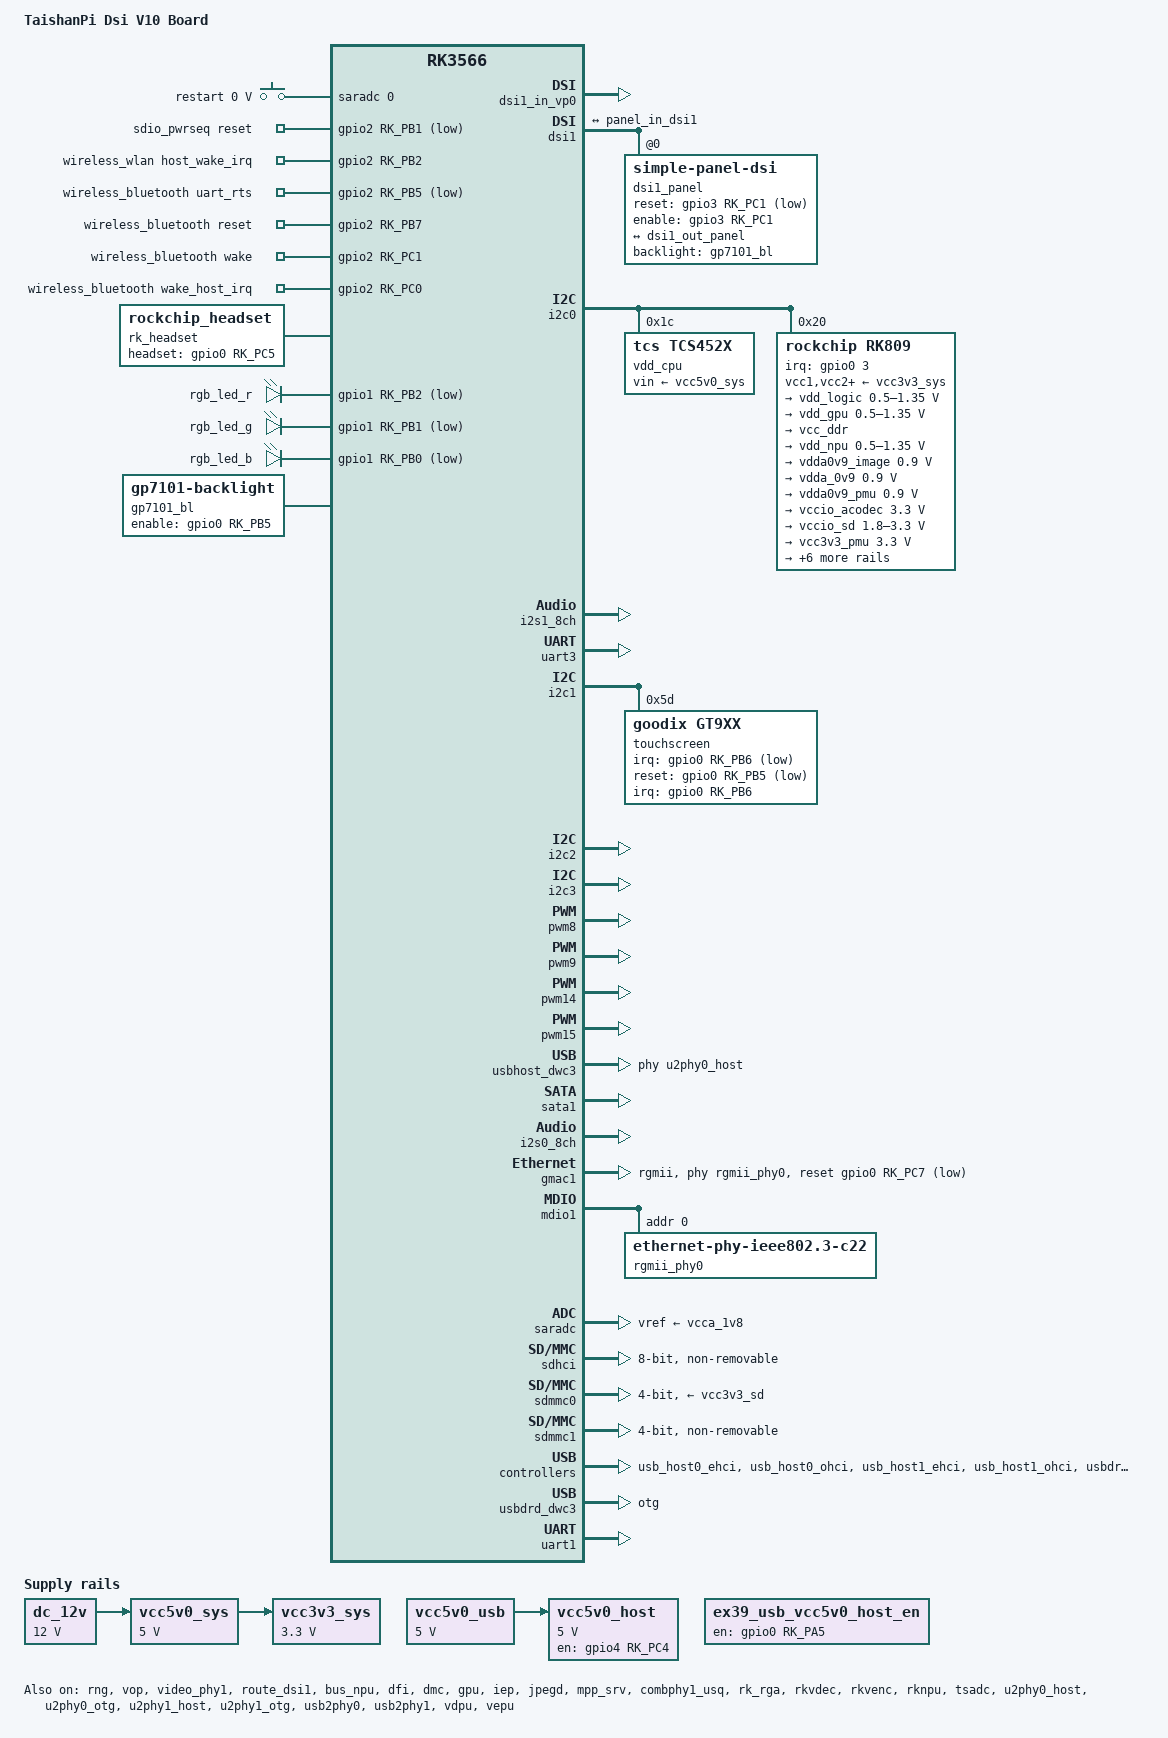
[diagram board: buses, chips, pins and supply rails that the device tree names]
// SPDX-License-Identifier: (GPL-2.0+ OR MIT)
/*
 * Copyright (c) 2020 Rockchip Electronics Co., Ltd.
 *
 */

/dts-v1/;

#include <dt-bindings/gpio/gpio.h>
#include <dt-bindings/display/media-bus-format.h>
#include <dt-bindings/pinctrl/rockchip.h>
#include <dt-bindings/display/rockchip_vop.h>
#include <dt-bindings/display/drm_mipi_dsi.h>
#include <dt-bindings/pwm/pwm.h>
#include <dt-bindings/input/rk-input.h>
#include <dt-bindings/sensor-dev.h>
#include "rk3566.dtsi"

/ {
	model = "TaishanPi Dsi V10 Board";
	compatible = "lckfb,tspi-v10", "rockchip,rk3566";

	fiq-debugger {
		compatible = "rockchip,fiq-debugger";
		rockchip,serial-id = <2>;
		rockchip,wake-irq = <0>;
		/* If enable uart uses irq instead of fiq */
		rockchip,irq-mode-enable = <1>;
		rockchip,baudrate = <1500000>;  /* Only 115200 and 1500000 */
		interrupts = <GIC_SPI 252 IRQ_TYPE_LEVEL_LOW>;
		pinctrl-names = "default";
		pinctrl-0 = <&uart2m0_xfer>;
		status = "okay";
	};

	debug: debug@fd904000 {
		compatible = "rockchip,debug";
		reg = <0x0 0xfd904000 0x0 0x1000>,
			<0x0 0xfd905000 0x0 0x1000>,
			<0x0 0xfd906000 0x0 0x1000>,
			<0x0 0xfd907000 0x0 0x1000>;
	};

	cspmu: cspmu@fd90c000 {
		compatible = "rockchip,cspmu";
		reg = <0x0 0xfd90c000 0x0 0x1000>,
			<0x0 0xfd90d000 0x0 0x1000>,
			<0x0 0xfd90e000 0x0 0x1000>,
			<0x0 0xfd90f000 0x0 0x1000>;
	};

	adc_keys: adc-keys {
		compatible = "adc-keys";
		io-channels = <&saradc 0>;
		io-channel-names = "buttons";
		keyup-threshold-microvolt = <1800000>;
		poll-interval = <100>;

		restart-key {
			label = "restart";
			linux,code = <KEY_RESTART>;
			press-threshold-microvolt = <108>;
		};
	};

	audiopwmout_diff: audiopwmout-diff {
		status = "disabled";
		compatible = "simple-audio-card";
		simple-audio-card,format = "i2s";
		simple-audio-card,name = "rockchip,audiopwmout-diff";
		simple-audio-card,mclk-fs = <256>;
		simple-audio-card,bitclock-master = <&master>;
		simple-audio-card,frame-master = <&master>;
		simple-audio-card,cpu {
			sound-dai = <&i2s3_2ch>;
		};
		master: simple-audio-card,codec {
			sound-dai = <&dig_acodec>;
		};
	};

	dc_12v: dc-12v {
		compatible = "regulator-fixed";
		regulator-name = "dc_12v";
		regulator-always-on;
		regulator-boot-on;
		regulator-min-microvolt = <12000000>;
		regulator-max-microvolt = <12000000>;
	};

	pdmics: dummy-codec {
		status = "disabled";
		compatible = "rockchip,dummy-codec";
		#sound-dai-cells = <0>;
	};

	pdm_mic_array: pdm-mic-array {
		status = "disabled";
		compatible = "simple-audio-card";
		simple-audio-card,name = "rockchip,pdm-mic-array";
		simple-audio-card,cpu {
			sound-dai = <&pdm>;
		};
		simple-audio-card,codec {
			sound-dai = <&pdmics>;
		};
	};

	rk809_sound: rk809-sound {
		status = "okay";
		compatible = "simple-audio-card";
		simple-audio-card,format = "i2s";
		simple-audio-card,name = "rockchip,rk809-codec";
		simple-audio-card,mclk-fs = <256>;

		simple-audio-card,cpu {
			sound-dai = <&i2s1_8ch>;
		};
		simple-audio-card,codec {
			sound-dai = <&rk809_codec>;
		};
	};

	spdif-sound {
		status = "disabled";
		compatible = "simple-audio-card";
		simple-audio-card,name = "ROCKCHIP,SPDIF";
		simple-audio-card,cpu {
				sound-dai = <&spdif_8ch>;
		};
		simple-audio-card,codec {
				sound-dai = <&spdif_out>;
		};
	};

	spdif_out: spdif-out {
			status = "disabled";
			compatible = "linux,spdif-dit";
			#sound-dai-cells = <0>;
	};

	vad_sound: vad-sound {
		status = "disabled";
		compatible = "rockchip,multicodecs-card";
		rockchip,card-name = "rockchip,rk3568-vad";
		rockchip,cpu = <&i2s1_8ch>;
		rockchip,codec = <&rk809_codec>, <&vad>;
	};

	vcc3v3_sys: vcc3v3-sys {
		compatible = "regulator-fixed";
		regulator-name = "vcc3v3_sys";
		regulator-always-on;
		regulator-boot-on;
		regulator-min-microvolt = <3300000>;
		regulator-max-microvolt = <3300000>;
		vin-supply = <&vcc5v0_sys>;
	};

	vcc5v0_sys: vcc5v0-sys {
		compatible = "regulator-fixed";
		regulator-name = "vcc5v0_sys";
		regulator-always-on;
		regulator-boot-on;
		regulator-min-microvolt = <5000000>;
		regulator-max-microvolt = <5000000>;
		vin-supply = <&dc_12v>;
	};

	vcc5v0_usb: vcc5v0-usb {
		compatible = "regulator-fixed";
		regulator-name = "vcc5v0_usb";
		regulator-always-on;
		regulator-boot-on;
		regulator-min-microvolt = <5000000>;
		regulator-max-microvolt = <5000000>;
	};

	vcc5v0_host: vcc5v0-host-regulator {
		compatible = "regulator-fixed";
		regulator-name = "vcc5v0_host";
		regulator-boot-on;
		regulator-always-on;
		regulator-min-microvolt = <5000000>;
		regulator-max-microvolt = <5000000>;
		enable-active-high;
		gpio = <&gpio4 RK_PC4 GPIO_ACTIVE_HIGH>;
		vin-supply = <&vcc5v0_usb>;
		pinctrl-names = "default";
		pinctrl-0 = <&vcc5v0_host_en>;
	};

	sdio_pwrseq: sdio-pwrseq {
		compatible = "mmc-pwrseq-simple";
		clocks = <&rk809 1>;
		clock-names = "ext_clock";
		pinctrl-names = "default";
		pinctrl-0 = <&wifi_enable_h>;

		/*
		 * On the module itself this is one of these (depending
		 * on the actual card populated):
		 * - SDIO_RESET_L_WL_REG_ON
		 * - PDN (power down when low)
		 */
		post-power-on-delay-ms = <200>;
		reset-gpios = <&gpio2 RK_PB1 GPIO_ACTIVE_LOW>;
	};

	wireless_wlan: wireless-wlan {
		compatible = "wlan-platdata";
		pinctrl-names = "default";
		pinctrl-0 = <&wifi_host_wake_irq>;
		WIFI,host_wake_irq = <&gpio2 RK_PB2 GPIO_ACTIVE_HIGH>;
		rockchip,grf = <&grf>;
		wifi_chip_type = "ap6212";
		status = "okay";
	};

	wireless_bluetooth: wireless-bluetooth {
		compatible = "bluetooth-platdata";
		clocks = <&rk809 1>;
		clock-names = "ext_clock";
		//wifi-bt-power-toggle;
		uart_rts_gpios = <&gpio2 RK_PB5 GPIO_ACTIVE_LOW>;
		pinctrl-names = "default", "rts_gpio";
		pinctrl-0 = <&uart1m0_rtsn>;
		pinctrl-1 = <&uart1_gpios>;
		BT,reset_gpio    = <&gpio2 RK_PB7 GPIO_ACTIVE_HIGH>;
		BT,wake_gpio     = <&gpio2 RK_PC1 GPIO_ACTIVE_HIGH>;
		BT,wake_host_irq = <&gpio2 RK_PC0 GPIO_ACTIVE_HIGH>;
		status = "okay";
	};

	test-power {
		status = "okay";
	};

	rk_headset: rk-headset {
		compatible = "rockchip_headset";
		headset_gpio = <&gpio0 RK_PC5 GPIO_ACTIVE_HIGH>;
		pinctrl-names = "default";
		pinctrl-0 = <&hp_det>;
	};

	leds: leds {
		compatible = "gpio-leds";
		rgb_led_r: rgb-led-r {
			gpios = <&gpio1 RK_PB2 GPIO_ACTIVE_LOW>;
			linux,default-trigger = "timer";
			linux,delay-reg = <0>;
			linux,blink-delay-on = <500>;
			linux,blink-delay-off = <500>;
		};
		rgb_led_g: rgb-led-g {
			gpios = <&gpio1 RK_PB1 GPIO_ACTIVE_LOW>;
			linux,default-trigger = "timer";
			linux,delay-reg = <100>;
			linux,blink-delay-on = <1000>; 
			linux,blink-delay-off = <1000>;
		};
		rgb_led_b: rgb-led-b {
			gpios = <&gpio1 RK_PB0 GPIO_ACTIVE_LOW>;
			linux,default-trigger = "timer";
			linux,delay-reg = <100>;
			linux,blink-delay-on = <1500>; 
			linux,blink-delay-off = <1500>;
		};
	};

	ex39-usb-vcc5v0-host-en {
		compatible = "regulator-fixed";
		enable-active-high;
		gpio = <&gpio0 RK_PA5 GPIO_ACTIVE_HIGH>;
		pinctrl-names = "default";
		pinctrl-0 = <&ex39_usb_vcc5v0_host_en>;
		regulator-name = "ex39_usb_vcc5v0_host_en";
		regulator-always-on;
	};

	// GP7101背光控制器
	gp7101_bl: gp7101-backlight {
		compatible = "gp7101-backlight";
		enable-gpios = <&gpio0 RK_PB5 GPIO_ACTIVE_HIGH>;
		pinctrl-names = "default";
		pinctrl-0 = <&bl_en_gpio>;
		default-brightness = <128>;
		max-brightness = <255>;
		status = "okay";
	};
};

&reserved_memory {
	ramoops: ramoops@110000 {
		compatible = "ramoops";
		reg = <0x0 0x110000 0x0 0xf0000>;
		record-size = <0x20000>;
		console-size = <0x80000>;
		ftrace-size = <0x00000>;
		pmsg-size = <0x50000>;
	};
};

&rng {
	status = "okay";
};

&rockchip_suspend {
	status = "okay";
};

&vop {
	disable-win-move;
};

&vp0 {
	cursor-win-id = <ROCKCHIP_VOP2_ESMART0>;
};

&vp1 {
	cursor-win-id = <ROCKCHIP_VOP2_ESMART1>;
};

&dsi1_in_vp0 {
	status = "okay";
};

&dsi1_in_vp1 {
	status = "disabled";
};

&video_phy1 {
	status = "okay";
};

&route_dsi1 {
	status = "okay";
	connect = <&vp0_out_dsi1>;
};

&dsi1 {
	status = "okay";
	//rockchip,lane-rate = <1000>;
	dsi1_panel: panel@0 {
		status = "okay";
		compatible = "simple-panel-dsi";
		reg = <0>;
		backlight = <&gp7101_bl>;
		reset-gpios = <&gpio3 RK_PC1 GPIO_ACTIVE_LOW>;
		enable-gpios = <&gpio3 RK_PC1 GPIO_ACTIVE_HIGH>;
		reset-delay-ms = <60>;
		enable-delay-ms = <60>;
		prepare-delay-ms = <60>;
		unprepare-delay-ms = <60>;
		disable-delay-ms = <60>;
		dsi,flags = <(MIPI_DSI_MODE_VIDEO | MIPI_DSI_MODE_VIDEO_BURST |
			MIPI_DSI_MODE_LPM | MIPI_DSI_MODE_EOT_PACKET)>;
		dsi,format = <MIPI_DSI_FMT_RGB888>;
		dsi,lanes  = <4>;
		panel-init-sequence = [
			39 00 04 FF 98 81 03
			15 00 02 01 00
			15 00 02 02 00
			15 00 02 03 53
			15 00 02 04 53
			15 00 02 05 13
			15 00 02 06 04
			15 00 02 07 02
			15 00 02 08 02
			15 00 02 09 00
			15 00 02 0a 00
			15 00 02 0b 00
			15 00 02 0c 00
			15 00 02 0d 00
			15 00 02 0e 00
			15 00 02 0f 00
			15 00 02 10 00
			15 00 02 11 00
			15 00 02 12 00
			15 00 02 13 00
			15 00 02 14 00
			15 00 02 15 00
			15 00 02 16 00
			15 00 02 17 00
			15 00 02 18 00
			15 00 02 19 00
			15 00 02 1a 00
			15 00 02 1b 00
			15 00 02 1c 00
			15 00 02 1d 00
			15 00 02 1e c0
			15 00 02 1f 00
			15 00 02 20 02
			15 00 02 21 09

			15 00 02 23 00
			15 00 02 24 00
			15 00 02 25 00
			15 00 02 26 00
			15 00 02 27 00
			15 00 02 28 55
			15 00 02 29 03
			15 00 02 2a 00
			15 00 02 2b 00
			15 00 02 2c 00
			15 00 02 2d 00
			15 00 02 2e 00
			15 00 02 2f 00
			15 00 02 30 00
			15 00 02 31 00
			15 00 02 32 00
			15 00 02 33 00
			15 00 02 34 00
			15 00 02 35 00
			15 00 02 36 00
			15 00 02 37 00
			15 00 02 38 3C
			15 00 02 39 00
			15 00 02 3a 00
			15 00 02 3b 00
			15 00 02 3c 00
			15 00 02 3d 00
			15 00 02 3e 00
			15 00 02 3f 00
			15 00 02 40 00
			15 00 02 41 00
			15 00 02 42 00
			15 00 02 43 00
			15 00 02 44 00
			
			15 00 02 50 01
			15 00 02 51 23
			15 00 02 52 45
			15 00 02 53 67
			15 00 02 54 89
			15 00 02 55 ab
			15 00 02 56 01
			15 00 02 57 23
			15 00 02 58 45
			15 00 02 59 67
			15 00 02 5a 89
			15 00 02 5b ab
			15 00 02 5c cd
			15 00 02 5d ef

			15 00 02 5e 01
			15 00 02 5f 0A
			15 00 02 60 02
			15 00 02 61 02
			15 00 02 62 08
			15 00 02 63 15
			15 00 02 64 14
			15 00 02 65 02
			15 00 02 66 11
			15 00 02 67 10
			15 00 02 68 02
			15 00 02 69 0F
			15 00 02 6a 0E
			15 00 02 6b 02
			15 00 02 6c 0D
			15 00 02 6d 0C
			15 00 02 6e 06
			15 00 02 6f 02
			15 00 02 70 02
			15 00 02 71 02
			15 00 02 72 02
			15 00 02 73 02
			15 00 02 74 02
			
			15 00 02 75 0A
			15 00 02 76 02
			15 00 02 77 02
			15 00 02 78 06
			15 00 02 79 15
			15 00 02 7a 14
			15 00 02 7b 02
			15 00 02 7c 10
			15 00 02 7d 11
			15 00 02 7e 02
			15 00 02 7f 0C
			15 00 02 80 0D
			15 00 02 81 02
			15 00 02 82 0E
			15 00 02 83 0F
			15 00 02 84 08
			15 00 02 85 02
			15 00 02 86 02
			15 00 02 87 02
			15 00 02 88 02
			15 00 02 89 02
			15 00 02 8A 02

			39 00 04 FF 98 81 04
			15 00 02 3B C0
			15 00 02 6C 15
			15 00 02 6E 30
			15 00 02 6F 55
			15 00 02 3A 24
			15 00 02 8D 1F
			15 00 02 87 BA
			15 00 02 26 76
			15 00 02 B2 D1
			15 00 02 B5 07
			15 00 02 35 1F
			15 00 02 88 0B
			15 00 02 21 09

			39 00 04 FF 98 81 01
			15 00 02 22 0A
			15 00 02 31 09
			15 00 02 40 33
			15 00 02 53 37
			15 00 02 55 38
			15 00 02 50 95
			15 00 02 51 95
			15 00 02 60 30

			15 00 02 A0 0F
			15 00 02 A1 17
			15 00 02 A2 22
			15 00 02 A3 19
			15 00 02 A4 15
			15 00 02 A5 28
			15 00 02 A6 1C
			15 00 02 A7 1C
			15 00 02 A8 78
			15 00 02 A9 1C
			15 00 02 AA 28
			15 00 02 AB 69
			15 00 02 AC 1A
			15 00 02 AD 19
			15 00 02 AE 4B
			15 00 02 AF 22
			15 00 02 B0 2A
			15 00 02 B1 4B
			15 00 02 B2 6B
			15 00 02 B3 3F

			15 00 02 C0 01
			15 00 02 C1 17
			15 00 02 C2 22
			15 00 02 C3 19
			15 00 02 C4 15
			15 00 02 C5 28
			15 00 02 C6 1C
			15 00 02 C7 1D
			15 00 02 C8 78
			15 00 02 C9 1C
			15 00 02 CA 28
			15 00 02 CB 69
			15 00 02 CC 1A
			15 00 02 CD 19
			15 00 02 CE 4B
			15 00 02 CF 22
			15 00 02 D0 2A
			15 00 02 D1 4B
			15 00 02 D2 6B
			15 00 02 D3 3F
			39 00 04 FF 98 81 00
			05 78 01 11
			05 14 01 29
		];

		panel-exit-sequence = [
			05 00 01 28
			05 00 01 10
		];

		disp_timings1: display-timings {
			native-mode = <&dsi1_timing0>;
			dsi1_timing0: timing0 {
				clock-frequency = <71000000>;
				hactive = <800>;
				vactive = <1280>;
				hfront-porch = <52>;
				hsync-len = <8>;
				hback-porch = <48>;
				vfront-porch = <15>;
				vsync-len = <6>;
				vback-porch = <16>;
				hsync-active = <0>;
				vsync-active = <0>;
				de-active = <0>;
				pixelclk-active = <0>;
			};
		};

		ports {
			#address-cells = <1>;
			#size-cells = <0>;

			port@0 {
				reg = <0>;
				panel_in_dsi1: endpoint {
					remote-endpoint = <&dsi1_out_panel>;
				};
			};
		};
	};

	ports {
		#address-cells = <1>;
		#size-cells = <0>;

		port@1 {
			reg = <1>;
			dsi1_out_panel: endpoint {
				remote-endpoint = <&panel_in_dsi1>;
			};
		};
	};
};

&bus_npu {
	bus-supply = <&vdd_logic>;
	pvtm-supply = <&vdd_cpu>;
	status = "okay";
};

&can0 {
	assigned-clocks = <&cru CLK_CAN0>;
	assigned-clock-rates = <150000000>;
	pinctrl-names = "default";
	pinctrl-0 = <&can0m1_pins>;
	status = "disabled";
};

&can1 {
	assigned-clocks = <&cru CLK_CAN1>;
	assigned-clock-rates = <150000000>;
	pinctrl-names = "default";
	pinctrl-0 = <&can1m1_pins>;
	status = "disabled";
};

&can2 {
	assigned-clocks = <&cru CLK_CAN2>;
	assigned-clock-rates = <150000000>;
	pinctrl-names = "default";
	pinctrl-0 = <&can2m1_pins>;
	status = "disabled";
};

&cpu0 {
	cpu-supply = <&vdd_cpu>;
};

&dfi {
	status = "okay";
};

&dmc {
	center-supply = <&vdd_logic>;
	status = "okay";
};

&gpu {
	mali-supply = <&vdd_gpu>;
	status = "okay";
};

&i2c0 {
	status = "okay";

	vdd_cpu: tcs4525@1c {
		compatible = "tcs,tcs452x";
		reg = <0x1c>;
		vin-supply = <&vcc5v0_sys>;
		regulator-compatible = "fan53555-reg";
		regulator-name = "vdd_cpu";
		regulator-min-microvolt = <712500>;
		regulator-max-microvolt = <1390000>;
		regulator-init-microvolt = <900000>;
		regulator-ramp-delay = <2300>;
		fcs,suspend-voltage-selector = <1>;
		regulator-boot-on;
		regulator-always-on;
		regulator-state-mem {
			regulator-off-in-suspend;
		};
	};

	rk809: pmic@20 {
		compatible = "rockchip,rk809";
		reg = <0x20>;
		interrupt-parent = <&gpio0>;
		interrupts = <3 IRQ_TYPE_LEVEL_LOW>;

		pinctrl-names = "default", "pmic-sleep",
				"pmic-power-off", "pmic-reset";
		pinctrl-0 = <&pmic_int>;
		pinctrl-1 = <&soc_slppin_slp>, <&rk817_slppin_slp>;
		pinctrl-2 = <&soc_slppin_gpio>, <&rk817_slppin_pwrdn>;
		pinctrl-3 = <&soc_slppin_gpio>, <&rk817_slppin_rst>;

		rockchip,system-power-controller;
		wakeup-source;
		#clock-cells = <1>;
		clock-output-names = "rk808-clkout1", "rk808-clkout2";
		//fb-inner-reg-idxs = <2>;
		/* 1: rst regs (default in codes), 0: rst the pmic */
		pmic-reset-func = <0>;
		/* not save the PMIC_POWER_EN register in uboot */
		not-save-power-en = <1>;

		vcc1-supply = <&vcc3v3_sys>;
		vcc2-supply = <&vcc3v3_sys>;
		vcc3-supply = <&vcc3v3_sys>;
		vcc4-supply = <&vcc3v3_sys>;
		vcc5-supply = <&vcc3v3_sys>;
		vcc6-supply = <&vcc3v3_sys>;
		vcc7-supply = <&vcc3v3_sys>;
		vcc8-supply = <&vcc3v3_sys>;
		vcc9-supply = <&vcc3v3_sys>;

		pwrkey {
			status = "okay";
		};

		pinctrl_rk8xx: pinctrl_rk8xx {
			gpio-controller;
			#gpio-cells = <2>;

			rk817_slppin_null: rk817_slppin_null {
				pins = "gpio_slp";
				function = "pin_fun0";
			};

			rk817_slppin_slp: rk817_slppin_slp {
				pins = "gpio_slp";
				function = "pin_fun1";
			};

			rk817_slppin_pwrdn: rk817_slppin_pwrdn {
				pins = "gpio_slp";
				function = "pin_fun2";
			};

			rk817_slppin_rst: rk817_slppin_rst {
				pins = "gpio_slp";
				function = "pin_fun3";
			};
		};

		regulators {
			vdd_logic: DCDC_REG1 {
				regulator-always-on;
				regulator-boot-on;
				regulator-min-microvolt = <500000>;
				regulator-max-microvolt = <1350000>;
				regulator-init-microvolt = <900000>;
				regulator-ramp-delay = <6001>;
				regulator-initial-mode = <0x2>;
				regulator-name = "vdd_logic";
				regulator-state-mem {
					regulator-off-in-suspend;
				};
			};

			vdd_gpu: DCDC_REG2 {
				regulator-always-on;
				regulator-boot-on;
				regulator-min-microvolt = <500000>;
				regulator-max-microvolt = <1350000>;
				regulator-init-microvolt = <900000>;
				regulator-ramp-delay = <6001>;
				regulator-initial-mode = <0x2>;
				regulator-name = "vdd_gpu";
				regulator-state-mem {
					regulator-off-in-suspend;
				};
			};

			vcc_ddr: DCDC_REG3 {
				regulator-always-on;
				regulator-boot-on;
				regulator-initial-mode = <0x2>;
				regulator-name = "vcc_ddr";
				regulator-state-mem {
					regulator-on-in-suspend;
				};
			};

			vdd_npu: DCDC_REG4 {
				regulator-always-on;
				regulator-boot-on;
				regulator-min-microvolt = <500000>;
				regulator-max-microvolt = <1350000>;
				regulator-init-microvolt = <900000>;
				regulator-ramp-delay = <6001>;
				regulator-initial-mode = <0x2>;
				regulator-name = "vdd_npu";
				regulator-state-mem {
					regulator-off-in-suspend;
				};
			};

			vdda0v9_image: LDO_REG1 {
				regulator-boot-on;
				regulator-always-on;
				regulator-min-microvolt = <900000>;
				regulator-max-microvolt = <900000>;
				regulator-name = "vdda0v9_image";
				regulator-state-mem {
					regulator-off-in-suspend;
				};
			};

			vdda_0v9: LDO_REG2 {
				regulator-always-on;
				regulator-boot-on;
				regulator-min-microvolt = <900000>;
				regulator-max-microvolt = <900000>;
				regulator-name = "vdda_0v9";
				regulator-state-mem {
					regulator-off-in-suspend;
				};
			};

			vdda0v9_pmu: LDO_REG3 {
				regulator-always-on;
				regulator-boot-on;
				regulator-min-microvolt = <900000>;
				regulator-max-microvolt = <900000>;
				regulator-name = "vdda0v9_pmu";
				regulator-state-mem {
					regulator-on-in-suspend;
					regulator-suspend-microvolt = <900000>;
				};
			};

			vccio_acodec: LDO_REG4 {
				regulator-always-on;
				regulator-boot-on;
				regulator-min-microvolt = <3300000>;
				regulator-max-microvolt = <3300000>;
				regulator-name = "vccio_acodec";
				regulator-state-mem {
					regulator-off-in-suspend;
				};
			};

			vccio_sd: LDO_REG5 {
				regulator-always-on;
				regulator-boot-on;
				regulator-min-microvolt = <1800000>;
				regulator-max-microvolt = <3300000>;
				regulator-name = "vccio_sd";
				regulator-state-mem {
					regulator-off-in-suspend;
				};
			};

			vcc3v3_pmu: LDO_REG6 {
				regulator-always-on;
				regulator-boot-on;
				regulator-min-microvolt = <3300000>;
				regulator-max-microvolt = <3300000>;
				regulator-name = "vcc3v3_pmu";
				regulator-state-mem {
					regulator-on-in-suspend;
					regulator-suspend-microvolt = <3300000>;
				};
			};

			vcca_1v8: LDO_REG7 {
				regulator-always-on;
				regulator-boot-on;
				regulator-min-microvolt = <1800000>;
				regulator-max-microvolt = <1800000>;
				regulator-name = "vcca_1v8";
				regulator-state-mem {
					regulator-off-in-suspend;
				};
			};

			vcca1v8_pmu: LDO_REG8 {
				regulator-always-on;
				regulator-boot-on;
				regulator-min-microvolt = <1800000>;
				regulator-max-microvolt = <1800000>;
				regulator-name = "vcca1v8_pmu";
				regulator-state-mem {
					regulator-on-in-suspend;
					regulator-suspend-microvolt = <1800000>;
				};
			};

			vcca1v8_image: LDO_REG9 {
				regulator-always-on;
				regulator-boot-on;
				regulator-min-microvolt = <1800000>;
				regulator-max-microvolt = <1800000>;
				regulator-name = "vcca1v8_image";
				regulator-state-mem {
					regulator-off-in-suspend;
				};
			};

			vcc_1v8: DCDC_REG5 {
				regulator-always-on;
				regulator-boot-on;
				regulator-min-microvolt = <1800000>;
				regulator-max-microvolt = <1800000>;
				regulator-name = "vcc_1v8";
				regulator-state-mem {
					regulator-off-in-suspend;
				};
			};

			vcc_3v3: SWITCH_REG1 {
				regulator-always-on;
				regulator-boot-on;
				regulator-name = "vcc_3v3";
				regulator-state-mem {
					regulator-off-in-suspend;
				};
			};

			vcc3v3_sd: SWITCH_REG2 {
				regulator-always-on;
				regulator-boot-on;
				regulator-name = "vcc3v3_sd";
				regulator-state-mem {
					regulator-off-in-suspend;
				};
			};
		};

		rk809_codec: codec {
			#sound-dai-cells = <0>;
			compatible = "rockchip,rk809-codec", "rockchip,rk817-codec";
			clocks = <&cru I2S1_MCLKOUT>;
			clock-names = "mclk";
			assigned-clocks = <&cru I2S1_MCLKOUT>, <&cru I2S1_MCLK_TX_IOE>;
			assigned-clock-rates = <12288000>;
			assigned-clock-parents = <&cru I2S1_MCLKOUT_TX>, <&cru I2S1_MCLKOUT_TX>;
			pinctrl-names = "default";
			pinctrl-0 = <&i2s1m0_mclk>;
			hp-volume = <20>;
			spk-volume = <3>;
			mic-in-differential;
			status = "okay";
		};
	};
};

&i2s1_8ch {
	status = "okay";
	rockchip,clk-trcm = <1>;
	pinctrl-names = "default";
	pinctrl-0 = <&i2s1m0_sclktx
		     &i2s1m0_lrcktx
		     &i2s1m0_sdi0
		     &i2s1m0_sdo0>;
};

&iep {
	status = "okay";
};

&iep_mmu {
	status = "okay";
};

&jpegd {
	status = "okay";
};

&jpegd_mmu {
	status = "okay";
};

&mpp_srv {
	status = "okay";
};

&pinctrl {
	pmic {
		pmic_int: pmic_int {
			rockchip,pins =
				<0 RK_PA3 RK_FUNC_GPIO &pcfg_pull_up>;
		};

		soc_slppin_gpio: soc_slppin_gpio {
			rockchip,pins =
				<0 RK_PA2 RK_FUNC_GPIO &pcfg_output_low_pull_down>;
		};

		soc_slppin_slp: soc_slppin_slp {
			rockchip,pins =
				<0 RK_PA2 1 &pcfg_pull_up>;
		};

		soc_slppin_rst: soc_slppin_rst {
			rockchip,pins =
				<0 RK_PA2 2 &pcfg_pull_none>;
		};
	};

	usb {
		vcc5v0_host_en: vcc5v0-host-en {
			rockchip,pins = <4 RK_PC4 RK_FUNC_GPIO &pcfg_pull_none>;
		};
	};

	sdio-pwrseq {
		wifi_enable_h: wifi-enable-h {
			rockchip,pins = <2 RK_PB1 RK_FUNC_GPIO &pcfg_pull_none>;
		};
	};

	wireless-wlan {
		wifi_host_wake_irq: wifi-host-wake-irq {
			rockchip,pins = <2 RK_PB2 RK_FUNC_GPIO &pcfg_pull_down>;
		};
	};

	wireless-bluetooth {
		uart1_gpios: uart1-gpios {
			rockchip,pins = <2 RK_PB5 RK_FUNC_GPIO &pcfg_pull_none>;
		};
	};

	headphone {
		hp_det: hp-det {
			rockchip,pins = <0 RK_PC5 RK_FUNC_GPIO &pcfg_pull_none>;
		};
	};

	ex39_usb {
		ex39_usb_vcc5v0_host_en: ex39-usb-vcc5v0-host-en {
			rockchip,pins = <0 RK_PA5 RK_FUNC_GPIO &pcfg_pull_none>;
		};
	};

	dsi1 {
		dsi1_rst_gpio: dsi1-rst-gpio {
			rockchip,pins = <3 RK_PC1 RK_FUNC_GPIO &pcfg_pull_none>;
		};
	};

	// 背光引脚配置
	backlight {
		bl_en_gpio: bl-en-gpio {
			rockchip,pins = <0 RK_PB5 RK_FUNC_GPIO &pcfg_pull_none>;
		};
	};

	// 触摸屏引脚配置
	touchscreen {
		touch_gpio: touch-gpio {
			rockchip,pins = <0 RK_PB6 RK_FUNC_GPIO &pcfg_pull_up>;
		};

		touch_rst_gpio: touch-rst-gpio {
			rockchip,pins = <0 RK_PB5 RK_FUNC_GPIO &pcfg_pull_none>;
		};
	};
};

&leds {
	status = "okay";
};

&uart3 {
	status = "okay";
	pinctrl-names = "default";
	pinctrl-0 = <&uart3m1_xfer>;
};

&i2c1 {
	status = "okay";
	// 替换为用户的触摸屏配置
	touchscreen@5d {
		compatible = "goodix,gt9xx";
		reg = <0x5d>;
		interrupt-parent = <&gpio0>;
		interrupts = <RK_PB6 IRQ_TYPE_EDGE_FALLING>;
		pinctrl-names = "default";
		pinctrl-0 = <&touch_gpio &touch_rst_gpio>;
		irq-gpios = <&gpio0 RK_PB6 GPIO_ACTIVE_LOW>;
		reset-gpios = <&gpio0 RK_PB5 GPIO_ACTIVE_LOW>;
		max-x = <1024>;
		max-y = <600>;
		tp-size = <911>;
		status = "okay";
	};
};

&i2c2 {
	status = "okay";
};

&i2c3 {
	status = "okay";
	pinctrl-names = "default";
	pinctrl-0 = <&i2c3m1_xfer>;
};

&spi3 {
	status = "disabled";
};

&pwm5 {
	status = "disabled";
};

&pwm8 {
	status = "okay";
};

&pwm9 {
	status = "okay";
};

&pwm14 {
	status = "okay";
};

&pwm15 {
	status = "okay";
	compatible = "rockchip,remotectl-pwm";
	remote_pwm_id = <3>;
	handle_cpu_id = <1>;
	remote_support_psci = <0>;
	pinctrl-names = "default";
	pinctrl-0 = <&pwm15m0_pins>;

	ir_key1 {
		rockchip,usercode = <0xff00>;
		rockchip,key_table =
			<0xf2	KEY_MENU>,
			<0xe9	KEY_BACK>,
			<0xe3	KEY_ENTER>,
			<0xe7	KEY_UP>,
			<0xad	KEY_DOWN>,
			<0xf7	KEY_LEFT>,
			<0xa5	KEY_RIGHT>,
			<0xba	KEY_1>,
			<0xb9	KEY_2>,
			<0xb8	KEY_3>,
			<0xbb	KEY_4>,
			<0xbf	KEY_5>,
			<0xbc	KEY_6>,
			<0xf8	KEY_7>,
			<0xea	KEY_8>,
			<0xf6	KEY_9>,
			<0xe6	KEY_0>;
	};
};

&usbhost_dwc3 {
	phys = <&u2phy0_host>; 
	phy-names = "usb2-phy";
	maximum-speed = "high-speed"; 
	status = "okay";
};

&combphy1_usq {
	rockchip,dis-u3otg1-port; 
	status = "okay";
};

&sata1 {
	rockchip,enable-ssc;
	status = "okay";
};

&rk_headset {
	status = "okay";
};

&i2s0_8ch {
	status = "okay";
};

&gmac1 {
	phy-mode = "rgmii";
	clock_in_out = "output";

	snps,reset-gpio = <&gpio0 RK_PC7 GPIO_ACTIVE_LOW>;
	snps,reset-active-low;
	snps,reset-delays-us = <0 20000 100000>;

	assigned-clocks = <&cru SCLK_GMAC1_RX_TX>, <&cru SCLK_GMAC1>;
	assigned-clock-parents = <&cru SCLK_GMAC1_RGMII_SPEED>, <&cru CLK_MAC1_2TOP>;
	assigned-clock-rates = <0>, <125000000>;

	pinctrl-names = "default";
	pinctrl-0 = <&gmac1m1_miim
		     &gmac1m1_tx_bus2
		     &gmac1m1_rx_bus2
		     &gmac1m1_rgmii_clk
		     &gmac1m1_rgmii_bus>;

	tx_delay = <0x4f>;
	rx_delay = <0x25>;

	phy-handle = <&rgmii_phy0>;
	status = "okay";
};

&mdio1 {
	rgmii_phy0: phy@0 {
		compatible = "ethernet-phy-ieee802.3-c22";
		reg = <0x0>;
	};
};

&pmu_io_domains {
	status = "okay";
	pmuio2-supply = <&vcc3v3_pmu>;
	vccio1-supply = <&vccio_acodec>;
	vccio3-supply = <&vccio_sd>;
	vccio4-supply = <&vcc_1v8>;
	vccio5-supply = <&vcc_3v3>;
	vccio6-supply = <&vcc_1v8>;
	vccio7-supply = <&vcc_3v3>;
};

&rk_rga {
	status = "okay";
};

&rkvdec {
	status = "okay";
};

&rkvdec_mmu {
	status = "okay";
};

&rkvenc {
	venc-supply = <&vdd_logic>;
	status = "okay";
};

&rkvenc_mmu {
	status = "okay";
};

&rknpu {
	rknpu-supply = <&vdd_npu>;
	status = "okay";
};

&rknpu_mmu {
	status = "okay";
};

&saradc {
	status = "okay";
	vref-supply = <&vcca_1v8>;
};

&sdhci {
	bus-width = <8>;
	supports-emmc;
	non-removable;
	max-frequency = <200000000>;
	status = "okay";
};

&nandc0 {
	#address-cells = <1>;
	#size-cells = <0>;
	status = "disabled";

	nand@0 {
		reg = <0>;
		nand-bus-width = <8>;
		nand-ecc-mode = "hw";
		nand-ecc-strength = <16>;
		nand-ecc-step-size = <1024>;
	};
};

&sfc {
	status = "disabled";
};

&sdmmc0 {
	max-frequency = <150000000>;
	supports-sd;
	bus-width = <4>;
	cap-mmc-highspeed;
	cap-sd-highspeed;
	disable-wp;
	sd-uhs-sdr104;
	vmmc-supply = <&vcc3v3_sd>;
	vqmmc-supply = <&vccio_sd>;
	pinctrl-names = "default";
	pinctrl-0 = <&sdmmc0_bus4 &sdmmc0_clk &sdmmc0_cmd &sdmmc0_det>;
	status = "okay";
};

&sdmmc1 {
	max-frequency = <150000000>;
	supports-sdio;
	bus-width = <4>;
	disable-wp;
	cap-sd-highspeed;
	cap-sdio-irq;
	keep-power-in-suspend;
	mmc-pwrseq = <&sdio_pwrseq>;
	non-removable;
	pinctrl-names = "default";
	pinctrl-0 = <&sdmmc1_bus4 &sdmmc1_cmd &sdmmc1_clk>;
	sd-uhs-sdr104;
	status = "okay";
};

&sdmmc2 {
	status = "disabled";
};

&spdif_8ch {
	status = "disabled";
};

&tsadc {
	status = "okay";
};

&u2phy0_host {
	phy-supply = <&vcc5v0_host>;
	status = "okay";
};

&u2phy0_otg {
	status = "okay";
};

&u2phy1_host {
	phy-supply = <&vcc5v0_host>;
	status = "okay";
};

&u2phy1_otg {
	phy-supply = <&vcc5v0_host>;
	status = "okay";
};

&usb2phy0 {
	status = "okay";
};

&usb2phy1 {
	status = "okay";
};

&usb_host0_ehci {
	status = "okay";
};

&usb_host0_ohci {
	status = "okay";
};

&usb_host1_ehci {
	status = "okay";
};

&usb_host1_ohci {
	status = "okay";
};

&usbdrd_dwc3 {
	dr_mode = "otg";
	extcon = <&usb2phy0>;
	status = "okay";
};

&usbdrd30 {
	status = "okay";
};

&usbhost_dwc3 {
	status = "okay";
};

&usbhost30 {
	status = "okay";
};

&vad {
	rockchip,audio-src = <&i2s1_8ch>;
	rockchip,buffer-time-ms = <128>;
	rockchip,det-channel = <0>;
	rockchip,mode = <0>;
};

&vdpu {
	status = "okay";
};

&vdpu_mmu {
	status = "okay";
};

&vepu {
	status = "okay";
};

&vepu_mmu {
	status = "okay";
};

&vop {
	status = "okay";
	assigned-clocks = <&cru DCLK_VOP0>, <&cru DCLK_VOP1>;
	assigned-clock-parents = <&pmucru PLL_HPLL>, <&cru PLL_VPLL>;
};

&vop_mmu {
	status = "okay";
};

&uart1 {
	status = "okay";
	pinctrl-names = "default";
	pinctrl-0 = <&uart1m0_xfer &uart1m0_ctsn>;
};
